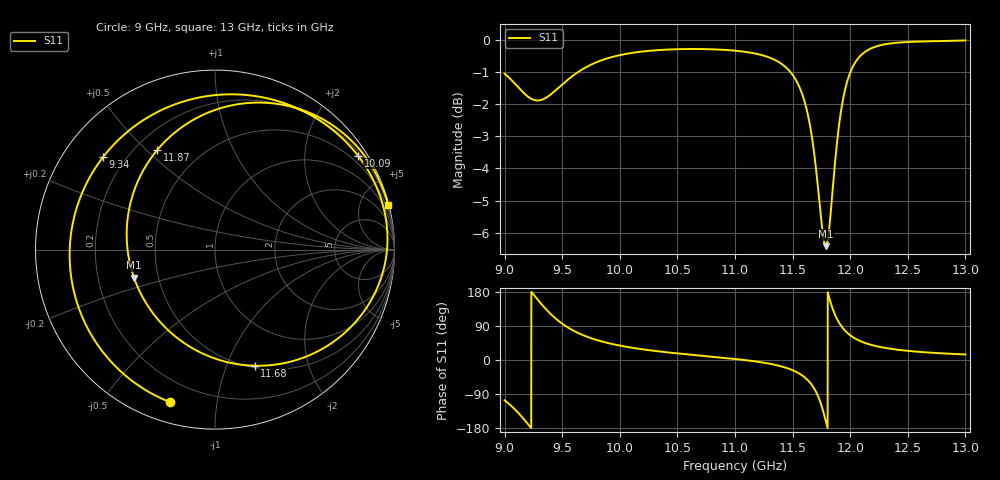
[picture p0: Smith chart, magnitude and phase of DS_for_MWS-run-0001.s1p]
! TOUCHSTONE file generated by CST DESIGN STUDIO
! Date and time: Tue Feb  4 17:29:38 2025
! Project name: C:\Work\MatlabApps\UnitCellOptimizationMatlab\CST\unitcell.cst
! Tree item: Tasks\Sweep1\SPara1\S-Parameters
! Header version: 2024
! Port assignment regex: !\s*Touchstone port\s*([0-9]+)\s*=\s*(CST MWS port|CST DES external port|CST DES block port)\s*(.+)\s* \(\"(.*)\"\)(\s*mode\s*([0-9]+))?.*
! Touchstone port assignment:
! Touchstone port 1 = CST DES external port 1 ("")
# GHz S MA R 50
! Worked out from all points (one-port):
!   4001 points, 9 GHz to 13 GHz, reference 50 ohm
!   lowest |S11| = -6.4 dB at 11.79 GHz (marker M1), VSWR 2.83, Z = 18.1 - j7.31 ohm
!   |S11| at or under -10 dB: nowhere
!   S11 on the Smith chart (normalised r, x): 9 GHz: 0.09, -0.74; 9.34 GHz: 0.12, +0.35; 10.09 GHz: 0.29, +3.32; 11.68 GHz: 0.52, -1.26; 11.87 GHz: 0.29, +0.54; 13 GHz: 0.07, +7.83
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9  0.8858 -106.4
9.093  0.8535 -131.5
9.193  0.8185 -165.6
9.263  0.8057 168.2
9.34  0.8092 140.5
9.416  0.8267 116.8
9.5  0.8523 95.8
9.607  0.8833 75.9
9.72  0.9093 60.8
9.848  0.9303 48.6
10  0.9467 38.0
10.087  0.9532 33.3
10.5  0.967 17.4
11  0.962 2.8
11.318  0.9355 -10.9
11.5  0.8821 -26.9
11.599  0.8073 -44.3
11.679  0.6836 -71.2
11.735  0.5541 -106.2
11.788  0.4777 -161.0
11.825  0.5245 156.8
11.867  0.6408 120.3
11.924  0.7826 89.0
12  0.8892 65.3
12.079  0.9405 51.0
12.179  0.9694 40.2
12.5  0.9923 24.1
13  0.9978 14.6
